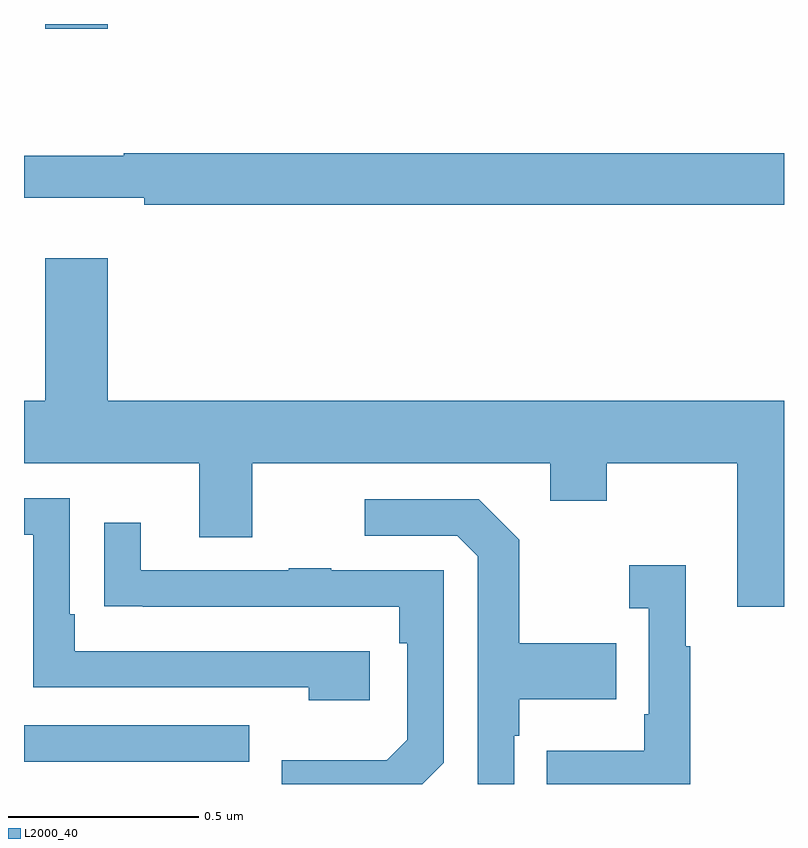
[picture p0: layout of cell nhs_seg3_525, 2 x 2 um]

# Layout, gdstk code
import gdstk
lib = gdstk.Library(unit=1e-6, precision=1e-09)
def R(c, l, rs):  # rectangles x0, y0, x1, y1
    for r in rs: c.add(gdstk.rectangle(r[:2], r[2:], *l))
def P(c, l, *ps):  # polygons
    for p in ps: c.add(gdstk.Polygon(p, *l))
L2000_40 = (2000, 40)

nhs_seg3_525 = lib.new_cell('nhs_seg3_525')
R(nhs_seg3_525, L2000_40, [(117,705.459,117.593,705.555), (117.056,707.388,117.22,707.4)])
P(nhs_seg3_525, L2000_40, [(119,707.06),(117.262,707.06),(117.262,707.053),(117,707.053),(117,706.943),(117.316,706.943),(117.316,706.924),(119,706.924)],
  [(119,706.408),(117.22,706.408),(117.22,706.783),(117.056,706.783),(117.056,706.408),(117,706.408),(117,706.244),(117.461,706.244),(117.461,706.05),(117.601,706.05),(117.601,706.244),(118.385,706.244),(118.385,706.145),(118.533,706.145),(118.533,706.244),(118.877,706.244),(118.877,705.867),(119,705.867)],
  [(117.91,705.75),(117.133,705.75),(117.133,705.847),(117.12,705.847),(117.12,706.152),(117,706.152),(117,706.056),(117.024,706.056),(117.024,705.654),(117.749,705.654),(117.749,705.62),(117.91,705.62)],
  [(118.29,705.527),(118.303,705.527),(118.303,705.623),(118.559,705.623),(118.559,705.771),(118.303,705.771),(118.303,706.043),(118.197,706.149),(117.897,706.149),(117.897,706.053),(118.14,706.053),(118.194,705.999),(118.194,705.4),(118.29,705.4)],
  [(118.104,705.456),(118.104,705.963),(117.809,705.963),(117.809,705.968),(117.697,705.968),(117.697,705.963),(117.307,705.963),(117.307,706.087),(117.211,706.087),(117.211,705.868),(117.313,705.868),(117.313,705.867),(117.988,705.867),(117.988,705.77),(118.008,705.77),(118.008,705.516),(117.955,705.463),(117.678,705.463),(117.678,705.4),(118.048,705.4)],
  [(118.753,705.763),(118.741,705.763),(118.741,705.976),(118.593,705.976),(118.593,705.863),(118.644,705.863),(118.644,705.583),(118.632,705.583),(118.632,705.487),(118.375,705.487),(118.375,705.4),(118.753,705.4)])

lib.write_gds('nhs_seg3_525.gds')
